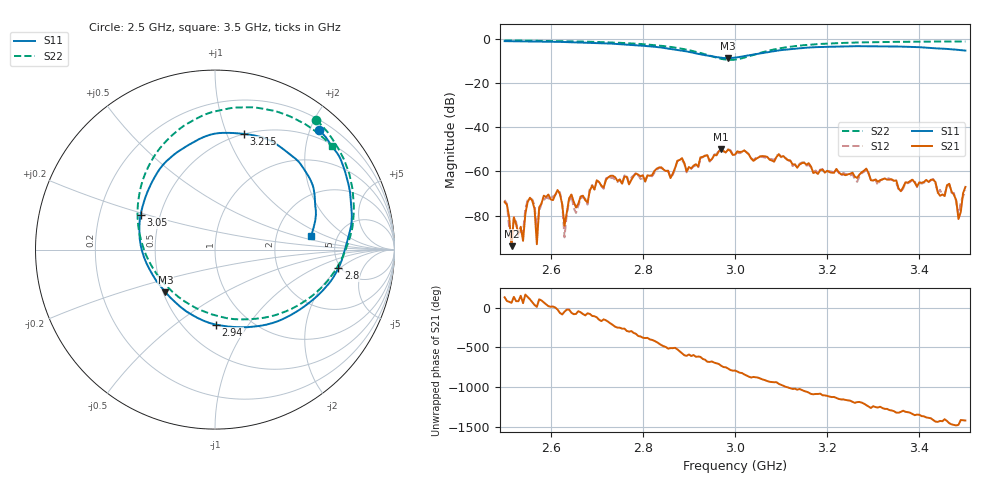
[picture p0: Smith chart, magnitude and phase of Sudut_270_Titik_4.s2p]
# Hz S RI R 50
! CMT, C1220, 16058040, 17.2.0/1
! Date: 15/08/2018 10:35:27
! Data: Format (Calibration Info)
! Freq  S11: Re/Im (F2)  S21: Re/Im (F2)  S12: Re/Im (F2)  S22: Re/Im (F2)
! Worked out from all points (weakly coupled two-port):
!   201 points, 2.5 GHz to 3.5 GHz, reference 50 ohm
!   highest |S21| = -49.85 dB at 2.97 GHz (marker M1); lowest = -93.8 dB at 2.515 GHz (marker M2)
!   lowest |S11| = -8.8 dB at 2.985 GHz (marker M3), VSWR 2.14, Z = 25.8 - j14.1 ohm
!   |S11| at or under -10 dB: nowhere
!   |S22| runs from -9.5 to -0.8 dB; largest |S21 - S12| = 0.00023
!   S11 on the Smith chart (normalised r, x): 2.5 GHz: 0.35, +2.15; 2.8 GHz: 4.79, -1.89; 2.94 GHz: 0.71, -0.72; 3.05 GHz: 0.39, +0.19; 3.215 GHz: 0.50, +1.15; 3.5 GHz: 3.19, +0.69
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2.5e9  0.5814 0.6666  -0.000137 0.00015  -0.000177 0.000138  0.5647 0.7222
2.515e9  0.6041 0.642  9.33e-06 1.81e-05  -2.11e-05 -1.09e-05  0.5811 0.7064
2.555e9  0.6467 0.5824  -7.39e-05 0.000242  -5.97e-05 0.000238  0.6266 0.6555
2.57e9  0.6669 0.5566  2.2e-05 4.62e-06  2.58e-05 4.32e-05  0.6425 0.633
2.615e9  0.7113 0.4738  0.000349 -0.000149  0.000328 -0.000116  0.6879 0.5611
2.63e9  0.7253 0.4328  3.91e-05 -4.39e-05  1.24e-05 -2.97e-05  0.7025 0.5344
2.645e9  0.7358 0.3942  0.000139 -0.000265  0.000167 -0.000243  0.7169 0.5059
2.655e9  0.7416 0.3718  3.41e-05 -0.000148  4.37e-05 -0.000106  0.7251 0.4852
2.67e9  0.7493 0.3361  5.57e-05 -0.000277  6.17e-05 -0.000255  0.7378 0.4522
2.8e9  0.6876 -0.1021  0.000774 -0.000257  0.000664 -0.000171  0.7529 0.0725
2.835e9  0.6031 -0.225  -3.54e-05 -0.00122  -2.99e-05 -0.0012  0.7002 -0.0627
2.94e9  0.00594 -0.4181  0.00178 0.00147  0.00172 0.00152  0.1823 -0.3882
2.97e9  -0.1931 -0.3185  0.00315 -0.000663  0.00315 -0.000721  -0.055 -0.3468
2.985e9  -0.276 -0.2371  0.00213 -0.00226  0.00224 -0.0022  -0.1689 -0.2886
3e9  -0.3461 -0.1432  0.000718 -0.00228  0.000606 -0.00233  -0.2685 -0.2046
3.05e9  -0.4145 0.1935  -0.00194 -0.000646  -0.00201 -0.000552  -0.4311 0.1738
3.17e9  -0.0126 0.6437  0.000899 -0.000192  0.000949 -9.01e-05  -0.0777 0.7428
3.215e9  0.1594 0.6449  0.000648 -0.000671  0.000627 -0.000676  0.0847 0.7878
3.335e9  0.4693 0.4861  -0.000556 0.00034  -0.000593 0.000345  0.4022 0.7486
3.465e9  0.5596 0.1698  0.0005 -0.000156  0.000482 -0.000159  0.6109 0.6161
3.485e9  0.5481 0.1173  6.63e-05 -5.1e-05  8.24e-05 -6.3e-05  0.6343 0.5916
3.5e9  0.5351 0.077  0.000425 0.000129  0.000362 8.51e-05  0.6515 0.5745
